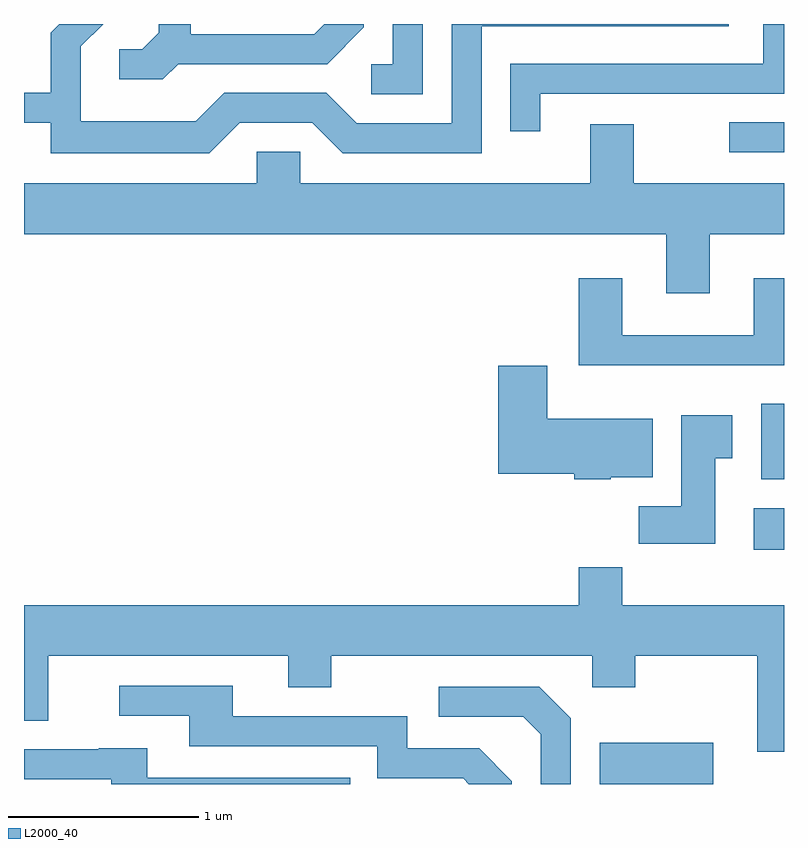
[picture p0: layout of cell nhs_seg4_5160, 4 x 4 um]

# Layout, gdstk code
import gdstk
lib = gdstk.Library(unit=1e-6, precision=1e-09)
def R(c, l, rs):  # rectangles x0, y0, x1, y1
    for r in rs: c.add(gdstk.rectangle(r[:2], r[2:], *l))
def P(c, l, *ps):  # polygons
    for p in ps: c.add(gdstk.Polygon(p, *l))
L2000_40 = (2000, 40)

nhs_seg4_5160 = lib.new_cell('nhs_seg4_5160')
R(nhs_seg4_5160, L2000_40, [(338.641,1373.982,339.239,1374.199), (339.451,1375.216,339.611,1375.434), (339.491,1375.586,339.611,1375.984), (339.323,1377.306,339.611,1377.464)])
P(nhs_seg4_5160, L2000_40, [(336.747,1377.461),(337.129,1377.461),(337.289,1377.301),(338.019,1377.301),(338.019,1377.971),(339.319,1377.971),(339.319,1377.982),(337.861,1377.982),(337.861,1377.459),(337.362,1377.459),(337.202,1377.619),(336.664,1377.619),(336.514,1377.469),(335.909,1377.469),(335.909,1377.864),(336.027,1377.982),(335.796,1377.982),(335.751,1377.937),(335.751,1377.619),(335.611,1377.619),(335.611,1377.461),(335.751,1377.461),(335.751,1377.301),(336.587,1377.301)],
  [(336.422,1377.771),(337.207,1377.771),(337.399,1377.964),(337.399,1377.982),(337.191,1377.982),(337.139,1377.929),(336.489,1377.929),(336.489,1377.982),(336.321,1377.982),(336.321,1377.937),(336.234,1377.849),(336.113,1377.849),(336.113,1377.691),(336.342,1377.691)],
  [(338.329,1377.616),(339.611,1377.616),(339.611,1377.982),(339.501,1377.982),(339.501,1377.774),(338.171,1377.774),(338.171,1377.418),(338.329,1377.418)],
  [(337.709,1377.982),(337.551,1377.982),(337.551,1377.769),(337.438,1377.769),(337.438,1377.611),(337.709,1377.611)],
  [(339.219,1376.876),(339.611,1376.876),(339.611,1377.144),(338.819,1377.144),(338.819,1377.454),(338.591,1377.454),(338.591,1377.144),(337.064,1377.144),(337.064,1377.309),(336.836,1377.309),(336.836,1377.144),(335.611,1377.144),(335.611,1376.876),(338.991,1376.876),(338.991,1376.566),(339.219,1376.566)],
  [(339.611,1376.644),(339.451,1376.644),(339.451,1376.344),(338.759,1376.344),(338.759,1376.644),(338.531,1376.644),(338.531,1376.186),(339.611,1376.186)],
  [(338.7,1375.596),(338.919,1375.596),(338.919,1375.904),(338.364,1375.904),(338.364,1376.184),(338.106,1376.184),(338.106,1375.616),(338.506,1375.616),(338.506,1375.586),(338.7,1375.586)],
  [(339.249,1375.696),(339.339,1375.696),(339.339,1375.924),(339.071,1375.924),(339.071,1375.444),(338.846,1375.444),(338.846,1375.246),(339.249,1375.246)],
  [(339.611,1374.924),(338.759,1374.924),(338.759,1375.124),(338.531,1375.124),(338.531,1374.924),(335.611,1374.924),(335.611,1374.316),(335.739,1374.316),(335.739,1374.656),(337.001,1374.656),(337.001,1374.491),(337.229,1374.491),(337.229,1374.656),(338.601,1374.656),(338.601,1374.491),(338.829,1374.491),(338.829,1374.656),(339.471,1374.656),(339.471,1374.151),(339.611,1374.151)],
  [(338.179,1373.997),(338.007,1374.169),(337.629,1374.169),(337.629,1374.339),(336.709,1374.339),(336.709,1374.499),(336.113,1374.499),(336.113,1374.341),(336.481,1374.341),(336.481,1374.181),(337.471,1374.181),(337.471,1374.011),(337.924,1374.011),(337.953,1373.982),(338.179,1373.982)],
  [(338.489,1374.327),(338.322,1374.494),(337.793,1374.494),(337.793,1374.336),(338.239,1374.336),(338.331,1374.244),(338.331,1373.982),(338.489,1373.982)],
  [(337.328,1374.014),(336.259,1374.014),(336.259,1374.169),(336.005,1374.169),(336.005,1374.164),(335.611,1374.164),(335.611,1374.006),(336.071,1374.006),(336.071,1373.982),(337.328,1373.982)])

lib.write_gds('nhs_seg4_5160.gds')
